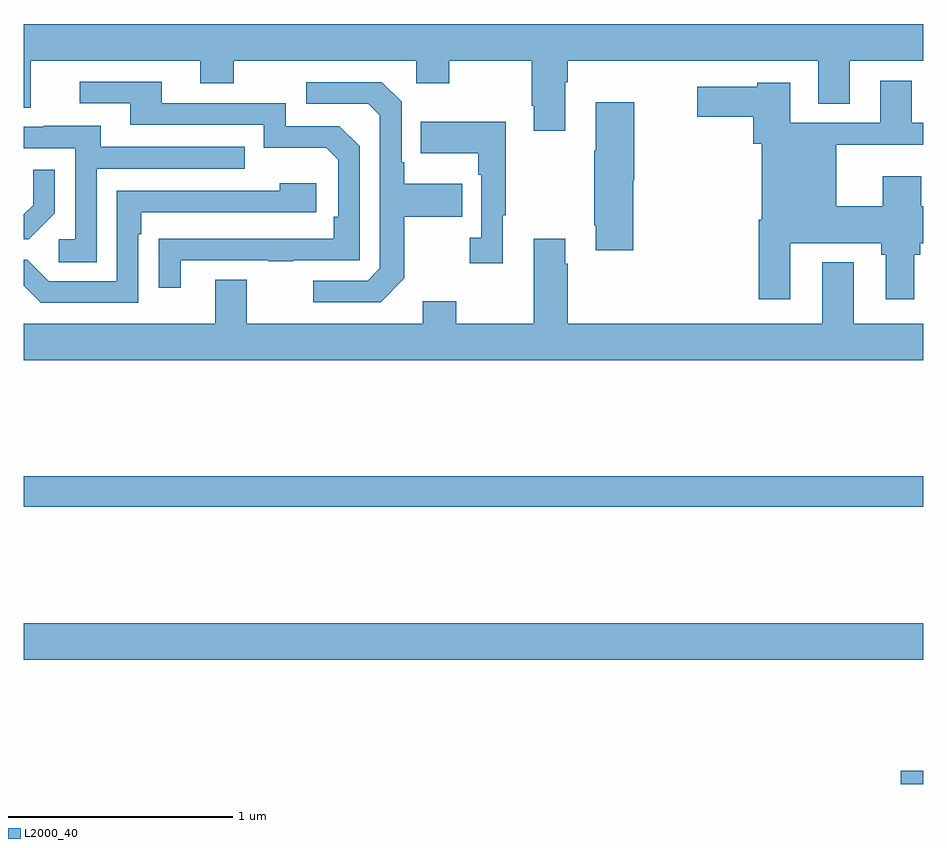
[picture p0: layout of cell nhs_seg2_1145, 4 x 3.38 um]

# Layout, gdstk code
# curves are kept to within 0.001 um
import gdstk
lib = gdstk.Library(unit=1e-6, precision=1e-09)
def R(c, l, rs):  # rectangles x0, y0, x1, y1
    for r in rs: c.add(gdstk.rectangle(r[:2], r[2:], *l))
def P(c, l, *ps):  # polygons
    for p in ps: c.add(gdstk.Polygon(p, *l))
L2000_40 = (2000, 40)

nhs_seg2_1145 = lib.new_cell('nhs_seg2_1145')
R(nhs_seg2_1145, L2000_40, [(174.9,597.8,175,597.86), (171,598.352,175,598.516), (171,599.032,175,599.168)])
P(nhs_seg2_1145, L2000_40, [(173.407,600.92),(173.42,600.92),(173.42,601.016),(174.533,601.016),(174.533,600.826),(174.673,600.826),(174.673,601.016),(175,601.016),(175,601.18),(171,601.18),(171,600.808),(171.031,600.808),(171.031,601.016),(171.785,601.016),(171.785,600.917),(171.933,600.917),(171.933,601.016),(172.746,601.016),(172.746,600.917),(172.893,600.917),(172.893,601.016),(173.26,601.016),(173.26,600.817),(173.267,600.817),(173.267,600.705),(173.407,600.705)],
  [(174.409,600.206),(174.814,600.206),(174.814,600.153),(174.833,600.153),(174.833,599.955),(174.961,599.955),(174.961,600.153),(174.987,600.153),(174.987,600.206),(175,600.206),(175,600.37),(174.992,600.37),(174.992,600.502),(174.821,600.502),(174.821,600.37),(174.613,600.37),(174.613,600.644),(175,600.644),(175,600.741),(174.949,600.741),(174.949,600.928),(174.809,600.928),(174.809,600.741),(174.409,600.741),(174.409,600.919),(174.261,600.919),(174.261,600.901),(173.994,600.901),(173.994,600.767),(174.245,600.767),(174.245,600.648),(174.281,600.648),(174.281,600.31),(174.269,600.31),(174.269,599.955),(174.409,599.955)],
  [(171.697,600.129),(172.087,600.129),(172.087,600.124),(172.199,600.124),(172.199,600.129),(172.494,600.129),(172.494,600.636),(172.404,600.726),(172.164,600.726),(172.164,600.828),(171.613,600.828),(171.613,600.924),(171.249,600.924),(171.249,600.828),(171.473,600.828),(171.473,600.732),(172.068,600.732),(172.068,600.629),(172.345,600.629),(172.398,600.576),(172.398,600.322),(172.378,600.322),(172.378,600.225),(171.601,600.224),(171.601,600.006),(171.697,600.006)],
  [(172.693,600.049),(172.693,600.322),(172.949,600.322),(172.949,600.469),(172.693,600.469),(172.693,600.565),(172.68,600.565),(172.68,600.834),(172.593,600.921),(172.257,600.921),(172.257,600.825),(172.533,600.825),(172.584,600.774),(172.584,600.093),(172.53,600.039),(172.287,600.039),(172.287,599.943),(172.587,599.943)],
  [(173.711,600.486),(173.716,600.486),(173.716,600.832),(173.543,600.832),(173.543,600.617),(173.536,600.617),(173.536,600.286),(173.543,600.286),(173.543,600.174),(173.711,600.174)],
  [(173.131,600.329),(173.143,600.329),(173.143,600.745),(172.765,600.745),(172.765,600.605),(173.022,600.605),(173.022,600.509),(173.034,600.509),(173.034,600.23),(172.983,600.23),(172.983,600.117),(173.131,600.117)],
  [(171.324,600.537),(171.983,600.537),(171.983,600.633),(171.343,600.633),(171.343,600.727),(171.089,600.727),(171.089,600.723),(171,600.723),(171,600.627),(171.228,600.627),(171.228,600.222),(171.156,600.222),(171.156,600.121),(171.324,600.121)],
  [(171.138,600.338),(171.138,600.532),(171.041,600.532),(171.041,600.375),(171,600.334),(171,600.222),(171.022,600.222)],
  [(171.51,600.245),(171.523,600.245),(171.523,600.342),(172.3,600.342),(172.3,600.472),(172.139,600.472),(172.139,600.438),(171.414,600.438),(171.414,600.036),(171.111,600.036),(171.015,600.132),(171,600.132),(171,600.015),(171.075,599.94),(171.51,599.94)],
  [(175,599.848),(174.691,599.848),(174.691,600.121),(174.551,600.121),(174.551,599.848),(173.42,599.848),(173.42,600.113),(173.407,600.113),(173.407,600.226),(173.267,600.226),(173.267,599.848),(172.923,599.848),(172.923,599.947),(172.775,599.947),(172.775,599.848),(171.991,599.848),(171.991,600.043),(171.851,600.043),(171.851,599.848),(171,599.848),(171,599.684),(175,599.684)])

lib.write_gds('nhs_seg2_1145.gds')
